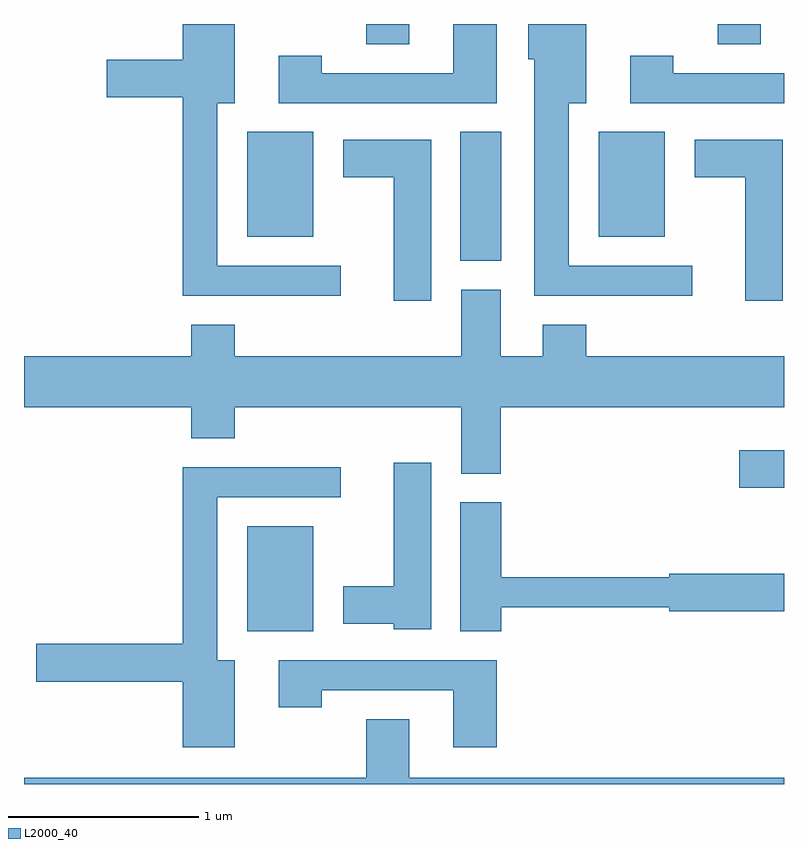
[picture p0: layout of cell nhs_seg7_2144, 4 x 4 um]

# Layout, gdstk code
import gdstk
lib = gdstk.Library(unit=1e-6, precision=1e-09)
def R(c, l, rs):  # rectangles x0, y0, x1, y1
    for r in rs: c.add(gdstk.rectangle(r[:2], r[2:], *l))
def P(c, l, *ps):  # polygons
    for p in ps: c.add(gdstk.Polygon(p, *l))
L2000_40 = (2000, 40)

nhs_seg7_2144 = lib.new_cell('nhs_seg7_2144')
R(nhs_seg7_2144, L2000_40, [(250.786,1793.056,251.134,1793.609), (253.376,1793.811,253.611,1794.009), (251.906,1795.006,252.124,1795.684), (250.786,1795.131,251.134,1795.684), (252.636,1795.131,252.984,1795.684), (251.411,1796.146,251.639,1796.252), (253.261,1796.146,253.489,1796.252)])
P(nhs_seg7_2144, L2000_40, [(252.099,1796.252),(251.871,1796.252),(251.871,1795.994),(251.179,1795.994),(251.179,1796.084),(250.951,1796.084),(250.951,1795.836),(252.099,1795.836)],
  [(251.278,1794.979),(250.629,1794.979),(250.629,1795.836),(250.719,1795.836),(250.719,1796.252),(250.446,1796.252),(250.446,1796.064),(250.046,1796.064),(250.046,1795.866),(250.446,1795.866),(250.446,1794.821),(251.278,1794.821)],
  [(253.128,1794.979),(252.479,1794.979),(252.479,1795.836),(252.569,1795.836),(252.569,1796.252),(252.266,1796.252),(252.266,1796.066),(252.296,1796.066),(252.296,1794.821),(253.128,1794.821)],
  [(253.611,1795.994),(253.029,1795.994),(253.029,1796.084),(252.801,1796.084),(252.801,1795.836),(253.611,1795.836)],
  [(251.754,1795.644),(251.291,1795.644),(251.291,1795.446),(251.556,1795.446),(251.556,1794.796),(251.754,1794.796)],
  [(253.604,1795.644),(253.141,1795.644),(253.141,1795.446),(253.406,1795.446),(253.406,1794.796),(253.604,1794.796)],
  [(252.119,1794.236),(253.611,1794.236),(253.611,1794.504),(252.569,1794.504),(252.569,1794.669),(252.341,1794.669),(252.341,1794.504),(252.119,1794.504),(252.119,1794.854),(251.911,1794.854),(251.911,1794.504),(250.719,1794.504),(250.719,1794.669),(250.491,1794.669),(250.491,1794.504),(249.611,1794.504),(249.611,1794.236),(250.491,1794.236),(250.491,1794.071),(250.719,1794.071),(250.719,1794.236),(251.911,1794.236),(251.911,1793.886),(252.119,1793.886)],
  [(251.754,1793.944),(251.556,1793.944),(251.556,1793.294),(251.291,1793.294),(251.291,1793.096),(251.556,1793.096),(251.556,1793.066),(251.754,1793.066)],
  [(250.719,1792.904),(250.629,1792.904),(250.629,1793.761),(251.278,1793.761),(251.278,1793.919),(250.446,1793.919),(250.446,1792.989),(249.676,1792.989),(249.676,1792.791),(250.446,1792.791),(250.446,1792.446),(250.719,1792.446)],
  [(252.124,1793.181),(253.006,1793.181),(253.006,1793.161),(253.611,1793.161),(253.611,1793.359),(253.006,1793.359),(253.006,1793.339),(252.124,1793.339),(252.124,1793.734),(251.906,1793.734),(251.906,1793.056),(252.124,1793.056)],
  [(252.099,1792.904),(250.951,1792.904),(250.951,1792.656),(251.179,1792.656),(251.179,1792.746),(251.871,1792.746),(251.871,1792.446),(252.099,1792.446)],
  [(253.611,1792.284),(251.639,1792.284),(251.639,1792.594),(251.411,1792.594),(251.411,1792.284),(249.611,1792.284),(249.611,1792.252),(253.611,1792.252)])

lib.write_gds('nhs_seg7_2144.gds')
